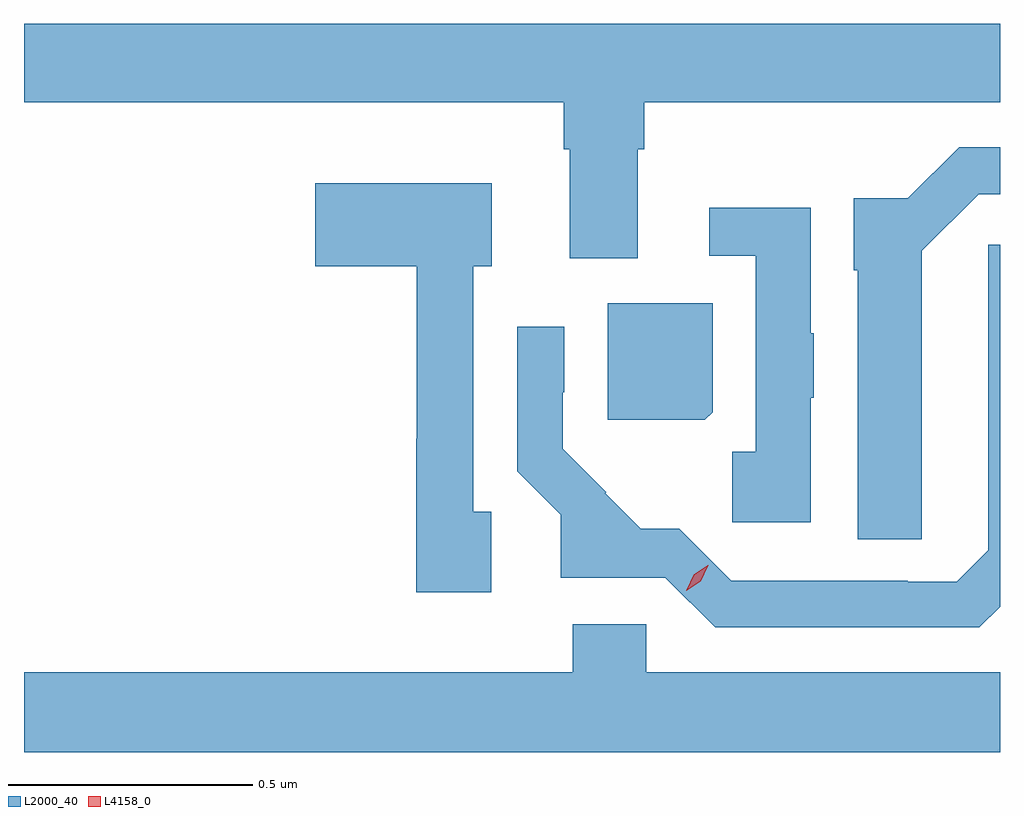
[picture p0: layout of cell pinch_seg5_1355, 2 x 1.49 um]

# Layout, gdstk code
import gdstk
lib = gdstk.Library(unit=1e-6, precision=1e-09)
def P(c, l, *ps):  # polygons
    for p in ps: c.add(gdstk.Polygon(p, *l))
L2000_40 = (2000, 40)
L4158_0 = (4158, 0)

pinch_seg5_1355 = lib.new_cell('pinch_seg5_1355')
P(pinch_seg5_1355, L2000_40, [(319.861,896.624),(319.874,896.624),(319.874,896.72),(320.603,896.72),(320.603,896.881),(318.603,896.881),(318.603,896.72),(319.709,896.72),(319.709,896.624),(319.721,896.624),(319.721,896.4),(319.861,896.4)],
  [(320.443,896.416),(320.559,896.532),(320.603,896.532),(320.603,896.628),(320.519,896.628),(320.414,896.523),(320.303,896.523),(320.303,896.376),(320.312,896.376),(320.312,895.825),(320.443,895.825)],
  [(319.56,895.881),(319.524,895.881),(319.524,896.384),(319.561,896.384),(319.561,896.554),(319.2,896.554),(319.2,896.384),(319.408,896.384),(319.408,896.031),(319.407,896.031),(319.407,895.716),(319.56,895.716)],
  [(320.215,896.115),(320.221,896.115),(320.221,896.247),(320.215,896.247),(320.215,896.504),(320.007,896.504),(320.007,896.406),(320.102,896.406),(320.102,896.004),(320.054,896.004),(320.054,895.859),(320.215,895.859)],
  [(320.603,895.686),(320.603,896.428),(320.579,896.428),(320.579,895.802),(320.514,895.737),(320.414,895.737),(320.414,895.74),(320.052,895.74),(319.946,895.846),(319.867,895.846),(319.794,895.919),(319.796,895.921),(319.707,896.01),(319.707,896.126),(319.71,896.126),(319.71,896.26),(319.614,896.26),(319.614,895.964),(319.703,895.875),(319.703,895.746),(319.917,895.746),(320.019,895.644),(320.56,895.644)],
  [(320.014,896.085),(320.014,896.308),(319.799,896.308),(319.799,896.069),(319.998,896.069)],
  [(320.603,895.552),(319.878,895.552),(319.878,895.65),(319.727,895.65),(319.727,895.552),(318.603,895.552),(318.603,895.388),(320.603,895.388)])
P(pinch_seg5_1355, L4158_0, [(319.96,895.719),(319.96,895.719),(319.975,895.752),(320.004,895.771),(320.005,895.771),(320.005,895.771),(319.99,895.738),(319.96,895.719)])

lib.write_gds('pinch_seg5_1355.gds')
